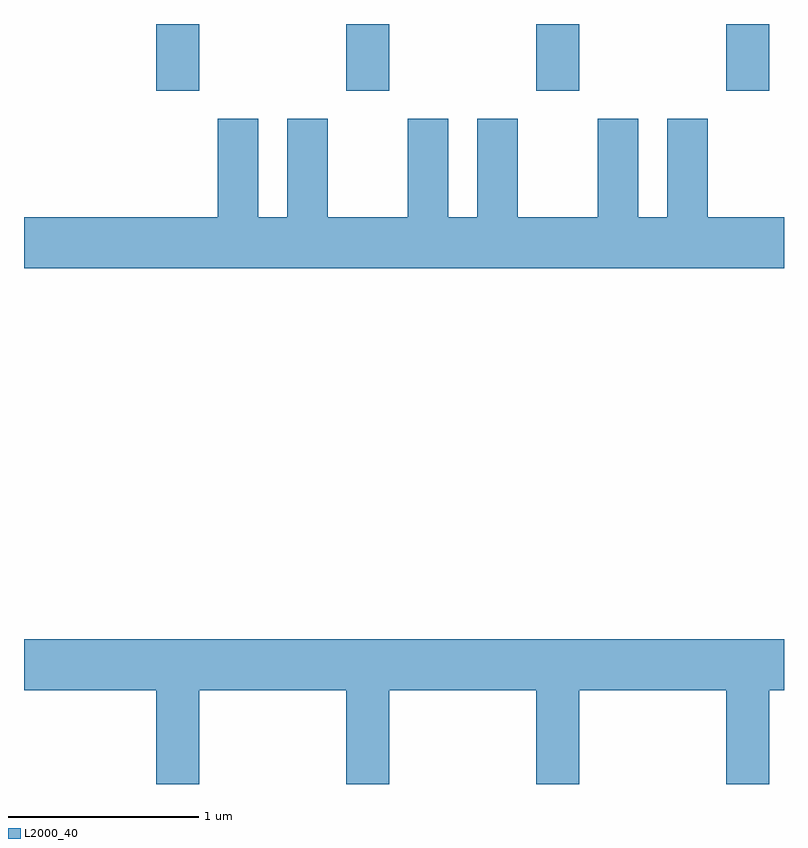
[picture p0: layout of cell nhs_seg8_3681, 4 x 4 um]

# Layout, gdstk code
import gdstk
lib = gdstk.Library(unit=1e-6, precision=1e-09)
def R(c, l, rs):  # rectangles x0, y0, x1, y1
    for r in rs: c.add(gdstk.rectangle(r[:2], r[2:], *l))
def A(c, l, x, y, w, h, nx, ny, dx, dy):  # array of equal rectangles
    R(c, l, [(x+i*dx, y+j*dy, x+i*dx+w, y+j*dy+h) for i in range(nx) for j in range(ny)])
def P(c, l, *ps):  # polygons
    for p in ps: c.add(gdstk.Polygon(p, *l))
L2000_40 = (2000, 40)

nhs_seg8_3681 = lib.new_cell('nhs_seg8_3681')
A(nhs_seg8_3681, L2000_40, 296.306, 1863.991, 0.228, 0.351, 4, 1, 1, 0)
P(nhs_seg8_3681, L2000_40, [(299.611,1863.324),(299.209,1863.324),(299.209,1863.844),(298.996,1863.844),(298.996,1863.324),(298.844,1863.324),(298.844,1863.844),(298.631,1863.844),(298.631,1863.324),(298.209,1863.324),(298.209,1863.844),(297.996,1863.844),(297.996,1863.324),(297.844,1863.324),(297.844,1863.844),(297.631,1863.844),(297.631,1863.324),(297.209,1863.324),(297.209,1863.844),(296.996,1863.844),(296.996,1863.324),(296.844,1863.324),(296.844,1863.844),(296.631,1863.844),(296.631,1863.324),(295.611,1863.324),(295.611,1863.056),(299.611,1863.056)],
  [(296.534,1860.836),(297.306,1860.836),(297.306,1860.342),(297.534,1860.342),(297.534,1860.836),(298.306,1860.836),(298.306,1860.342),(298.534,1860.342),(298.534,1860.836),(299.306,1860.836),(299.306,1860.342),(299.534,1860.342),(299.534,1860.836),(299.611,1860.836),(299.611,1861.104),(295.611,1861.104),(295.611,1860.836),(296.306,1860.836),(296.306,1860.342),(296.534,1860.342)])

lib.write_gds('nhs_seg8_3681.gds')
